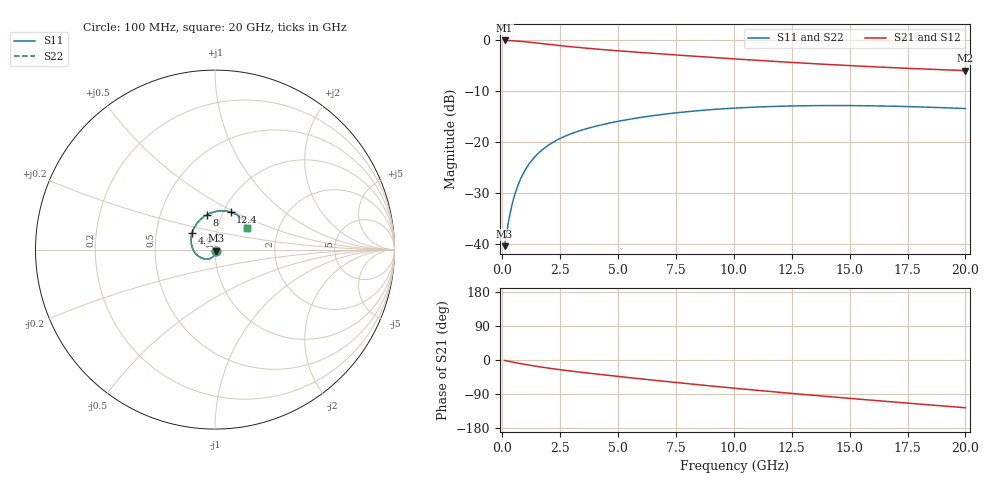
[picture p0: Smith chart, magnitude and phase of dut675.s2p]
! Touchstone file exported from HFSS 2024.1.0
!  File:  C:/UserFiles/LocalFiles/RDL_TSV_Batchsim/temp_RDL_TSV_675_1779815211.aedt
!  Generated:  01:18:05 AM May 27, 2026
!  Design:  RDL_TSV
!  Project:  temp_RDL_TSV_675_1779815211
!  Setup:  Setup1
!  Solution:  Sweep
! Variables:
!  dtsv = 12.45um
!  hbump = 3um
!  htsv = 74.92um
!  ldown = 367.26um
!  lrdl = 100.82um
!  p = 40
!  p1 = 40.9um
!  rhole = 10um
!  subl = 1505.06um
!  t = 450um
!  tdown = 3.59um
!  trdl = 3.56um
!  viad = 10um
!  wdown = 18.86um
!  wrdl = 29.66um
!  xbump = 18um
# GHz S MA R 50.000000
! Terminal data exported
! Port[1] = TM1_1_T1
! Port[2] = TM1_4_T1
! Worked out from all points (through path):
!   200 points, 100 MHz to 20 GHz, reference 50 ohm
!   highest |S21| = -0.07 dB at 100 MHz (marker M1); lowest = -6.0 dB at 20 GHz (marker M2)
!   group delay of S21, straight-line fit = 16.5 ps
!   lowest |S11| = -40.4 dB at 100 MHz (marker M3), VSWR 1.02, Z = 50.8 - j0.578 ohm
!   |S11| at or under -10 dB: start of sweep to end of sweep
!   |S22| runs from -40.4 to -12.8 dB; largest |S21 - S12| = 9.6e-14
!   S11 on the Smith chart (normalised r, x): 100 MHz: 1.02, -0.01; 4.9 GHz: 0.76, +0.15; 8 GHz: 0.85, +0.34; 12.4 GHz: 1.08, +0.48; 20 GHz: 1.38, +0.35
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0.1  0.009598 -36.3  0.9915 -1.3  0.9915 -1.3  0.009598 -36.3
! Gamma 0 0 0 0
! Port Impedance 50 0 50 0
0.2  0.01346 -58.9  0.9902 -2.5  0.9902 -2.5  0.01346 -58.9
0.3  0.01825 -72.7  0.9882 -3.8  0.9882 -3.8  0.01825 -72.7
0.4  0.02339 -82.4  0.9856 -5.0  0.9856 -5.0  0.02339 -82.4
0.5  0.02864 -90.1  0.9826 -6.2  0.9826 -6.2  0.02864 -90.1
0.6  0.03389 -96.6  0.9792 -7.3  0.9792 -7.3  0.03389 -96.6
0.8  0.04415 -107.5  0.9713 -9.6  0.9713 -9.6  0.04414 -107.5
1.1  0.05859 -121.2  0.9572 -12.9  0.9572 -12.9  0.05858 -121.2
1.3  0.06747 -129.2  0.9468 -15.0  0.9468 -15.0  0.06746 -129.2
1.5  0.07573 -136.6  0.9359 -16.9  0.9359 -16.9  0.07572 -136.6
2  0.09384 -153.0  0.9085 -21.5  0.9085 -21.5  0.09383 -153.0
2.7  0.1142 -172.5  0.8728 -27.2  0.8728 -27.2  0.1142 -172.5
3.5  0.1328 169.0  0.838 -33.1  0.838 -33.1  0.1327 169.0
4.9  0.1585 143.2  0.7885 -42.7  0.7885 -42.7  0.1585 143.2
6.8  0.1857 116.6  0.7333 -55.0  0.7333 -55.0  0.1856 116.6
8  0.1991 103.2  0.7022 -62.4  0.7022 -62.4  0.1991 103.1
10.1  0.2162 83.9  0.6529 -74.8  0.6529 -74.8  0.2161 83.9
12.4  0.2262 67.5  0.6061 -87.6  0.6061 -87.6  0.2261 67.4
13.4  0.2281 61.4  0.5882 -93.0  0.5882 -93.0  0.228 61.4
15  0.2284 53.0  0.5624 -101.3  0.5624 -101.3  0.2283 52.9
16.7  0.2256 45.4  0.5389 -109.8  0.5389 -109.8  0.2255 45.4
20  0.2136 34.4  0.5028 -126.0  0.5028 -126.0  0.2134 34.3
